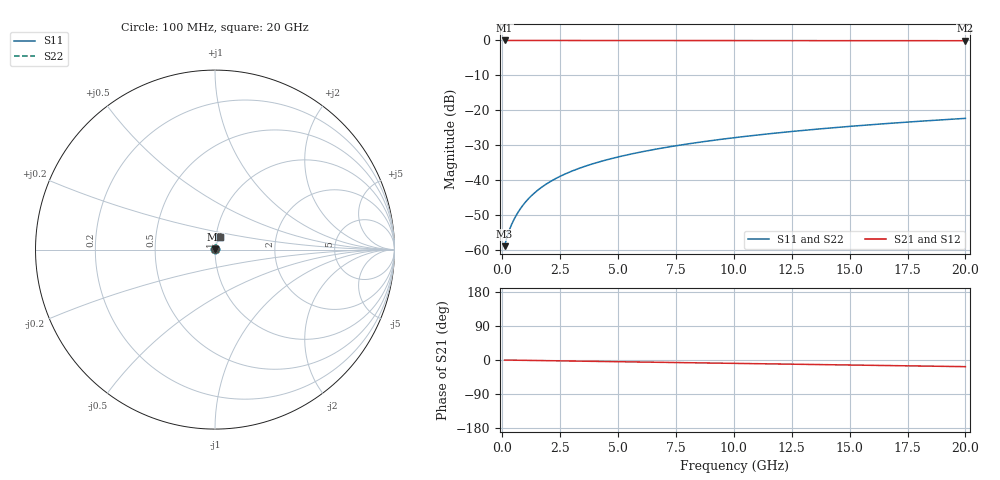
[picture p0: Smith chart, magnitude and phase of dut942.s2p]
! Touchstone file exported from HFSS 2026.1.0
!  File:  C:/ffzhzh/LocalFiles/Ansys_Project_Files/temp_train_TMRDL_942_1783158526_22436.aedt
!  Generated:  05:49:59 PM Jul  4, 2026
!  Design:  TMRDL
!  Project:  temp_train_TMRDL_942_1783158526_22436
! Variables:
!  h_bsmrdl = 2um
!  h_ox = 20um
!  h_rdl = 5um
!  h_sub = 80um
!  h_tmrdl = 5.75um
!  h_tsv = 80um
!  h_via = 3um
!  l_bsmrdl = 300um
!  l_sub = 690.37um
!  l_tmrdl = 290.37um
!  m_sub = 200um
!  pitch = 32.54um
!  r_tsv = 6um
!  s_tmrdl = 10um
!  w_bsmrdl = 18um
!  w_sub = 500um
!  w_tmrdl = 22.3um
!  x_tsv_center1 = 301.52um
!  x_tsv_center2 = 619.52um
!  x_tsv_center3 = 932.19um
!  x_tsv_center4 = 1250.19um
!  x_tsv_center5 = 1562.86um
!  x_tsv_center6 = 1880.86um
# GHz S MA R 50.000000
! Terminal data exported
! Port[1] = TM_RDL1_1_T1
! Port[2] = TM_RDL1_1_T2
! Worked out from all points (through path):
!   200 points, 100 MHz to 20 GHz, reference 50 ohm
!   highest |S21| = -0.01 dB at 100 MHz (marker M1); lowest = -0.1 dB at 20 GHz (marker M2)
!   group delay of S21, straight-line fit = 2.43 ps
!   lowest |S11| = -58.8 dB at 100 MHz (marker M3), VSWR 1.00, Z = 50.1 + j0.0608 ohm
!   |S11| at or under -10 dB: start of sweep to end of sweep
!   |S22| runs from -58.8 to -22.3 dB; largest |S21 - S12| = 8e-15
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0.1  0.001153 31.8  0.999 -0.1  0.999 -0.1  0.001153 31.8
! Gamma 0 0 0 0
! Port Impedance 50 0 50 0
0.2  0.001554 45.3  0.9989 -0.2  0.9989 -0.2  0.001554 45.3
0.3  0.001947 53.0  0.9988 -0.3  0.9988 -0.3  0.001947 53.0
0.4  0.002343 58.5  0.9988 -0.4  0.9988 -0.4  0.002343 58.5
0.5  0.00275 62.6  0.9987 -0.5  0.9987 -0.5  0.00275 62.6
0.6  0.003168 65.7  0.9987 -0.6  0.9987 -0.6  0.003168 65.7
0.8  0.004029 69.9  0.9986 -0.7  0.9986 -0.7  0.004029 69.9
1  0.004908 72.6  0.9986 -0.9  0.9986 -0.9  0.004908 72.6
1.2  0.005794 74.3  0.9985 -1.1  0.9985 -1.1  0.005794 74.3
1.4  0.006682 75.4  0.9984 -1.3  0.9984 -1.3  0.006682 75.4
1.7  0.008007 76.5  0.9983 -1.6  0.9983 -1.6  0.008007 76.5
2.2  0.01019 77.3  0.9981 -2.0  0.9981 -2.0  0.01019 77.3
2.8  0.01275 77.6  0.9977 -2.6  0.9977 -2.6  0.01275 77.6
3.5  0.01565 77.6  0.9974 -3.2  0.9974 -3.2  0.01565 77.6
4.2  0.01848 77.4  0.997 -3.8  0.997 -3.8  0.01848 77.4
5  0.02166 77.1  0.9966 -4.5  0.9966 -4.5  0.02166 77.1
6.8  0.02864 76.3  0.9958 -6.1  0.9958 -6.1  0.02864 76.3
8.3  0.03436 75.5  0.9952 -7.4  0.9952 -7.4  0.03436 75.5
10.1  0.04114 74.4  0.9944 -9.0  0.9944 -9.0  0.04114 74.4
13.4  0.05337 72.3  0.9931 -11.8  0.9931 -11.8  0.05337 72.3
16.7  0.06535 69.9  0.9917 -14.7  0.9917 -14.7  0.06535 69.9
20  0.07705 67.5  0.9903 -17.6  0.9903 -17.6  0.07705 67.5
